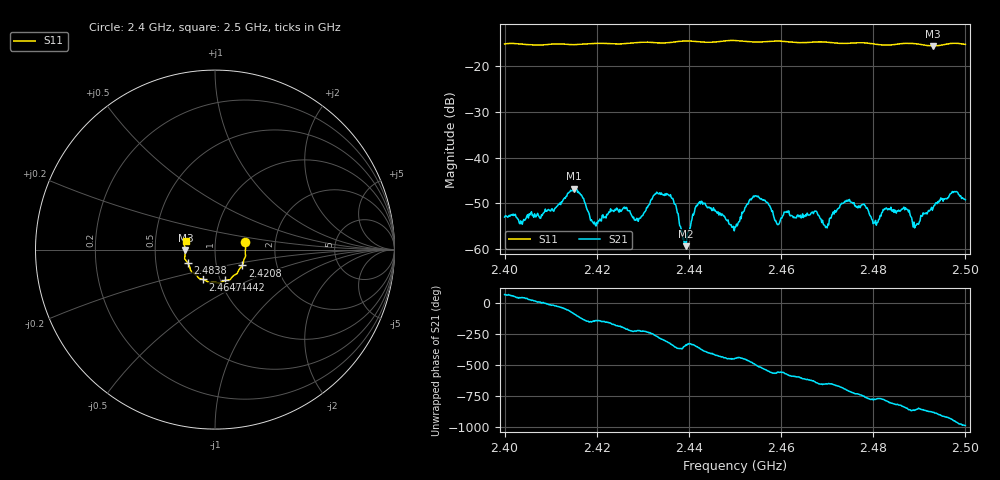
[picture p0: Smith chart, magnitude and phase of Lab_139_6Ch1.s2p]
# Hz S RI R 50
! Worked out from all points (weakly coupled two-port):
!   601 points, 2.4 GHz to 2.5 GHz, reference 50 ohm
!   highest |S21| = -46.77 dB at 2.415 GHz (marker M1); lowest = -59.4 dB at 2.4393 GHz (marker M2)
!   lowest |S11| = -15.6 dB at 2.493 GHz (marker M3), VSWR 1.40, Z = 35.8 - j0.288 ohm
!   |S11| at or under -10 dB: start of sweep to end of sweep
!   S12 and S22 are empty: the file has one direction only
!   S11 on the Smith chart (normalised r, x): 2.4 GHz: 1.40, +0.12; 2.4208 GHz: 1.33, -0.24; 2.4442 GHz: 1.05, -0.37; 2.4647 GHz: 0.83, -0.29; 2.4838 GHz: 0.73, -0.11; 2.5 GHz: 0.71, +0.07
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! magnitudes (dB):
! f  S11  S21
! 2.4 GHz  -15.2  -53.0
! 2.415 GHz  -15.4  -46.8
! 2.4167 GHz  -15.3  -48.2
! 2.4208 GHz  -15.1  -53.8
! 2.429 GHz  -14.9  -53.9
! 2.4333 GHz  -15.0  -47.9
! 2.4365 GHz  -14.8  -48.9
! 2.4393 GHz  -14.6  -59.4
! 2.4418 GHz  -14.7  -50.5
! 2.4442 GHz  -14.9  -51.0
! 2.45 GHz  -14.5  -55.2
! 2.4545 GHz  -14.8  -48.4
! 2.4592 GHz  -14.6  -54.6
! 2.4647 GHz  -14.9  -52.3
! 2.4667 GHz  -14.8  -52.0
! 2.4698 GHz  -14.8  -55.2
! 2.4743 GHz  -15.1  -49.6
! 2.4833 GHz  -15.5  -51.2
! 2.4838 GHz  -15.4  -50.9
! 2.4892 GHz  -15.1  -54.9
! 2.493 GHz  -15.6  -51.1
! 2.5 GHz  -15.3  -49.2
